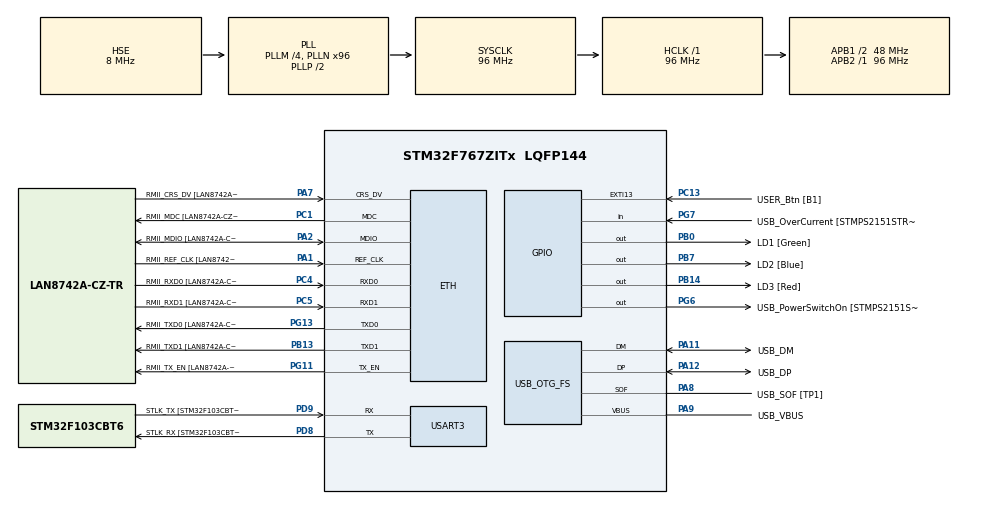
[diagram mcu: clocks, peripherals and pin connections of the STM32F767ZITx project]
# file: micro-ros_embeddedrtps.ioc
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ETH.MediaInterface=ETH_MEDIA_INTERFACE_RMII
ETH.PHY_Name=LAN8742A_PHY_ADDRESS
ETH.PHY_Value=0
ETH.PhyAddress=0
FREERTOS.Tasks01=defaultTask,19,8000,StartDefaultTask,Default,NULL,Dynamic,NULL,NULL
FREERTOS.configMAX_TASK_NAME_LEN=30
FREERTOS.configTOTAL_HEAP_SIZE=100000
FREERTOS.configUSE_NEWLIB_REENTRANT=1
LWIP.GATEWAY_ADDRESS=192.168.011.001
LWIP.IP_ADDRESS=192.168.011.002
LWIP.LWIP_DHCP=0
LWIP.LWIP_IGMP=1
LWIP.LWIP_MULTICAST_TX_OPTIONS=1
LWIP.MEMP_NUM_UDP_PCB=15
LWIP.MEM_SIZE=30000
LWIP.NETMASK_ADDRESS=255.255.255.000
LWIP.PBUF_POOL_SIZE=20
LWIP.TCPIP_THREAD_PRIO=20
LWIP.TCPIP_THREAD_STACKSIZE=10000
LWIP.Version=v2.1.2_Cube
Mcu.Family=STM32F7
Mcu.Name=STM32F767ZITx
Mcu.Package=LQFP144
NVIC.ETH_IRQn=true\:5\:0\:false\:false\:true\:true\:false\:true
NVIC.PriorityGroup=NVIC_PRIORITYGROUP_4
NVIC.TIM8_TRG_COM_TIM14_IRQn=true\:15\:0\:false\:false\:true\:false\:false\:true
NVIC.TimeBase=TIM8_TRG_COM_TIM14_IRQn
NVIC.TimeBaseIP=TIM14
PA1.GPIO_Label=RMII_REF_CLK [LAN8742A-CZ-TR_REFCLK0]
PA1.Mode=RMII
PA1.Signal=ETH_REF_CLK
PA10.GPIO_Label=USB_ID
PA10.Signal=USB_OTG_FS_ID
PA11.GPIO_Label=USB_DM
PA11.Mode=Device_Only
PA11.Signal=USB_OTG_FS_DM
PA12.GPIO_Label=USB_DP
PA12.Mode=Device_Only
PA12.Signal=USB_OTG_FS_DP
PA13.GPIO_Label=TMS
PA13.Mode=Serial_Wire
PA13.Signal=SYS_JTMS-SWDIO
PA14.GPIO_Label=TCK
PA14.Mode=Serial_Wire
PA14.Signal=SYS_JTCK-SWCLK
PA2.GPIO_Label=RMII_MDIO [LAN8742A-CZ-TR_MDIO]
PA2.Mode=RMII
PA2.Signal=ETH_MDIO
PA7.GPIO_Label=RMII_CRS_DV [LAN8742A-CZ-TR_CRS_DV]
PA7.Mode=RMII
PA7.Signal=ETH_CRS_DV
PA8.GPIO_Label=USB_SOF [TP1]
PA8.Mode=Activate_SOF_FS
PA8.Signal=USB_OTG_FS_SOF
PA9.GPIO_Label=USB_VBUS
PA9.Mode=Activate_VBUS
PA9.Signal=USB_OTG_FS_VBUS
PB0.GPIO_Label=LD1 [Green]
PB0.Signal=GPIO_Output
PB13.GPIO_Label=RMII_TXD1 [LAN8742A-CZ-TR_TXD1]
PB13.Mode=RMII
PB13.Signal=ETH_TXD1
PB14.GPIO_Label=LD3 [Red]
PB14.Signal=GPIO_Output
PB3.GPIO_Label=SWO
PB3.Signal=SYS_JTDO-SWO
PB7.GPIO_Label=LD2 [Blue]
PB7.Signal=GPIO_Output
PC1.GPIO_Label=RMII_MDC [LAN8742A-CZ-TR_MDC]
PC1.Mode=RMII
PC1.Signal=ETH_MDC
PC13.GPIO_Label=USER_Btn [B1]
PC13.Signal=GPXTI13
PC14/OSC32_IN.Mode=LSE-External-Oscillator
PC14/OSC32_IN.Signal=RCC_OSC32_IN
PC15/OSC32_OUT.Mode=LSE-External-Oscillator
PC15/OSC32_OUT.Signal=RCC_OSC32_OUT
PC4.GPIO_Label=RMII_RXD0 [LAN8742A-CZ-TR_RXD0]
PC4.Mode=RMII
PC4.Signal=ETH_RXD0
PC5.GPIO_Label=RMII_RXD1 [LAN8742A-CZ-TR_RXD1]
PC5.Mode=RMII
PC5.Signal=ETH_RXD1
PD8.GPIO_Label=STLK_RX [STM32F103CBT6_PA3]
PD8.Mode=Asynchronous
PD8.Signal=USART3_TX
PD9.GPIO_Label=STLK_TX [STM32F103CBT6_PA2]
PD9.Mode=Asynchronous
PD9.Signal=USART3_RX
PG11.GPIO_Label=RMII_TX_EN [LAN8742A-CZ-TR_TXEN]
PG11.Mode=RMII
PG11.Signal=ETH_TX_EN
PG13.GPIO_Label=RMII_TXD0 [LAN8742A-CZ-TR_TXD0]
PG13.Mode=RMII
PG13.Signal=ETH_TXD0
PG6.GPIO_Label=USB_PowerSwitchOn [STMPS2151STR_EN]
PG6.Signal=GPIO_Output
PG7.GPIO_Label=USB_OverCurrent [STMPS2151STR_FAULT]
PG7.Signal=GPIO_Input
PH0/OSC_IN.GPIO_Label=MCO [STM32F103CBT6_PA8]
PH0/OSC_IN.Mode=HSE-External-Clock-Source
PH0/OSC_IN.Signal=RCC_OSC_IN
PH1/OSC_OUT.Mode=HSE-External-Clock-Source
PH1/OSC_OUT.Signal=RCC_OSC_OUT
ProjectManager.HeapSize=0x200
ProjectManager.StackSize=0x400
ProjectManager.TargetToolchain=STM32CubeIDE
RCC.48MHZClocksFreq_Value=24000000
RCC.AHBFreq_Value=96000000
RCC.APB1CLKDivider=RCC_HCLK_DIV2
RCC.APB1Freq_Value=48000000
RCC.APB1TimFreq_Value=96000000
RCC.APB2Freq_Value=96000000
RCC.APB2TimFreq_Value=96000000
RCC.CortexFreq_Value=96000000
RCC.HCLKFreq_Value=96000000
RCC.HSE_VALUE=8000000
RCC.HSI_VALUE=16000000
RCC.PLLM=4
RCC.PLLMUL=RCC_PLL_MUL9
RCC.PLLN=96
RCC.PLLQ=4
RCC.PRESCALERUSB=RCC_USBCLKSOURCE_PLL_DIV1_5
RCC.SYSCLKFreq_VALUE=96000000
RCC.SYSCLKSource=RCC_SYSCLKSOURCE_PLLCLK
RCC.SYSCLKSourceVirtual=RCC_SYSCLKSOURCE_PLLCLK
RCC.USBFreq_Value=48000000
RCC.VCOOutputFreq_Value=192000000
USART3.VirtualMode-Asynchronous=VM_ASYNC
USB_OTG_FS.VirtualMode=Device_Only
VP_FREERTOS_VS_CMSIS_V2.Mode=CMSIS_V2
VP_LWIP_VS_Enabled.Mode=Enabled
VP_SYS_VS_tim14.Mode=TIM14
board=NUCLEO-F767ZI

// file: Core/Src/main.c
/* USER CODE BEGIN Header */
/**
  ******************************************************************************
  * @file           : main.c
  * @brief          : Main program body
  ******************************************************************************
  * @attention
  *
  * <h2><center>&copy; Copyright (c) 2022 STMicroelectronics.
  * All rights reserved.</center></h2>
  *
  * This software component is licensed by ST under BSD 3-Clause license,
  * the "License"; You may not use this file except in compliance with the
  * License. You may obtain a copy of the License at:
  *                        opensource.org/licenses/BSD-3-Clause
  *
  ******************************************************************************
  */
/* USER CODE END Header */
#include "main.h"
#include "cmsis_os.h"
#include "lwip.h"

/* USER CODE BEGIN Includes */
#include <rcl/rcl.h>
#include <rcl/error_handling.h>
#include <rclc/rclc.h>
#include <rclc/executor.h>

#include <std_msgs/msg/int32.h>
/* USER CODE END Includes */

UART_HandleTypeDef huart3;

PCD_HandleTypeDef hpcd_USB_OTG_FS;

/* Definitions for defaultTask */
osThreadId_t defaultTaskHandle;
const osThreadAttr_t defaultTask_attributes = {
  .name = "defaultTask",
  .stack_size = 8000 * 4,
  .priority = (osPriority_t) osPriorityBelowNormal3,
};

void SystemClock_Config(void);
static void MX_GPIO_Init(void);
static void MX_USART3_UART_Init(void);
static void MX_USB_OTG_FS_PCD_Init(void);
void StartDefaultTask(void *argument);

int main(void)
{

  /* MCU Configuration--------------------------------------------------------*/

  /* Reset of all peripherals, Initializes the Flash interface and the Systick. */
  HAL_Init();

  /* Configure the system clock */
  SystemClock_Config();

  /* Initialize all configured peripherals */
  MX_GPIO_Init();
  MX_USART3_UART_Init();
  MX_USB_OTG_FS_PCD_Init();

  /* Init scheduler */
  osKernelInitialize();

  /* Create the thread(s) */
  /* creation of defaultTask */
  defaultTaskHandle = osThreadNew(StartDefaultTask, NULL, &defaultTask_attributes);

  /* Start scheduler */
  osKernelStart();

  /* We should never get here as control is now taken by the scheduler */
  /* Infinite loop */
  while (1)
  {

  }
}

void SystemClock_Config(void)
{
  RCC_OscInitTypeDef RCC_OscInitStruct = {0};
  RCC_ClkInitTypeDef RCC_ClkInitStruct = {0};
  RCC_PeriphCLKInitTypeDef PeriphClkInitStruct = {0};

  /** Configure LSE Drive Capability
  */
  HAL_PWR_EnableBkUpAccess();
  /** Configure the main internal regulator output voltage
  */
  __HAL_RCC_PWR_CLK_ENABLE();
  __HAL_PWR_VOLTAGESCALING_CONFIG(PWR_REGULATOR_VOLTAGE_SCALE3);
  /** Initializes the RCC Oscillators according to the specified parameters
  * in the RCC_OscInitTypeDef structure.
  */
  RCC_OscInitStruct.OscillatorType = RCC_OSCILLATORTYPE_HSE;
  RCC_OscInitStruct.HSEState = RCC_HSE_BYPASS;
  RCC_OscInitStruct.PLL.PLLState = RCC_PLL_ON;
  RCC_OscInitStruct.PLL.PLLSource = RCC_PLLSOURCE_HSE;
  RCC_OscInitStruct.PLL.PLLM = 4;
  RCC_OscInitStruct.PLL.PLLN = 96;
  RCC_OscInitStruct.PLL.PLLP = RCC_PLLP_DIV2;
  RCC_OscInitStruct.PLL.PLLQ = 4;
  RCC_OscInitStruct.PLL.PLLR = 2;
  if (HAL_RCC_OscConfig(&RCC_OscInitStruct) != HAL_OK)
  {
    Error_Handler();
  }
  /** Activate the Over-Drive mode
  */
  if (HAL_PWREx_EnableOverDrive() != HAL_OK)
  {
    Error_Handler();
  }
  /** Initializes the CPU, AHB and APB buses clocks
  */
  RCC_ClkInitStruct.ClockType = RCC_CLOCKTYPE_HCLK|RCC_CLOCKTYPE_SYSCLK
                              |RCC_CLOCKTYPE_PCLK1|RCC_CLOCKTYPE_PCLK2;
  RCC_ClkInitStruct.SYSCLKSource = RCC_SYSCLKSOURCE_PLLCLK;
  RCC_ClkInitStruct.AHBCLKDivider = RCC_SYSCLK_DIV1;
  RCC_ClkInitStruct.APB1CLKDivider = RCC_HCLK_DIV2;
  RCC_ClkInitStruct.APB2CLKDivider = RCC_HCLK_DIV1;

  if (HAL_RCC_ClockConfig(&RCC_ClkInitStruct, FLASH_LATENCY_3) != HAL_OK)
  {
    Error_Handler();
  }
  PeriphClkInitStruct.PeriphClockSelection = RCC_PERIPHCLK_USART3|RCC_PERIPHCLK_CLK48;
  PeriphClkInitStruct.Usart3ClockSelection = RCC_USART3CLKSOURCE_PCLK1;
  PeriphClkInitStruct.Clk48ClockSelection = RCC_CLK48SOURCE_PLL;
  if (HAL_RCCEx_PeriphCLKConfig(&PeriphClkInitStruct) != HAL_OK)
  {
    Error_Handler();
  }
}

static void MX_USART3_UART_Init(void)
{

  huart3.Instance = USART3;
  huart3.Init.BaudRate = 115200;
  huart3.Init.WordLength = UART_WORDLENGTH_8B;
  huart3.Init.StopBits = UART_STOPBITS_1;
  huart3.Init.Parity = UART_PARITY_NONE;
  huart3.Init.Mode = UART_MODE_TX_RX;
  huart3.Init.HwFlowCtl = UART_HWCONTROL_NONE;
  huart3.Init.OverSampling = UART_OVERSAMPLING_16;
  huart3.Init.OneBitSampling = UART_ONE_BIT_SAMPLE_DISABLE;
  huart3.AdvancedInit.AdvFeatureInit = UART_ADVFEATURE_NO_INIT;
  if (HAL_UART_Init(&huart3) != HAL_OK)
  {
    Error_Handler();
  }

}

static void MX_USB_OTG_FS_PCD_Init(void)
{

  hpcd_USB_OTG_FS.Instance = USB_OTG_FS;
  hpcd_USB_OTG_FS.Init.dev_endpoints = 6;
  hpcd_USB_OTG_FS.Init.speed = PCD_SPEED_FULL;
  hpcd_USB_OTG_FS.Init.dma_enable = DISABLE;
  hpcd_USB_OTG_FS.Init.phy_itface = PCD_PHY_EMBEDDED;
  hpcd_USB_OTG_FS.Init.Sof_enable = ENABLE;
  hpcd_USB_OTG_FS.Init.low_power_enable = DISABLE;
  hpcd_USB_OTG_FS.Init.lpm_enable = DISABLE;
  hpcd_USB_OTG_FS.Init.vbus_sensing_enable = ENABLE;
  hpcd_USB_OTG_FS.Init.use_dedicated_ep1 = DISABLE;
  if (HAL_PCD_Init(&hpcd_USB_OTG_FS) != HAL_OK)
  {
    Error_Handler();
  }

}

static void MX_GPIO_Init(void)
{
  GPIO_InitTypeDef GPIO_InitStruct = {0};

  /* GPIO Ports Clock Enable */
  __HAL_RCC_GPIOC_CLK_ENABLE();
  __HAL_RCC_GPIOH_CLK_ENABLE();
  __HAL_RCC_GPIOA_CLK_ENABLE();
  __HAL_RCC_GPIOB_CLK_ENABLE();
  __HAL_RCC_GPIOD_CLK_ENABLE();
  __HAL_RCC_GPIOG_CLK_ENABLE();

  /*Configure GPIO pin Output Level */
  HAL_GPIO_WritePin(GPIOB, LD1_Pin|LD3_Pin|LD2_Pin, GPIO_PIN_RESET);

  /*Configure GPIO pin Output Level */
  HAL_GPIO_WritePin(USB_PowerSwitchOn_GPIO_Port, USB_PowerSwitchOn_Pin, GPIO_PIN_RESET);

  /*Configure GPIO pin : USER_Btn_Pin */
  GPIO_InitStruct.Pin = USER_Btn_Pin;
  GPIO_InitStruct.Mode = GPIO_MODE_IT_RISING;
  GPIO_InitStruct.Pull = GPIO_NOPULL;
  HAL_GPIO_Init(USER_Btn_GPIO_Port, &GPIO_InitStruct);

  /*Configure GPIO pins : LD1_Pin LD3_Pin LD2_Pin */
  GPIO_InitStruct.Pin = LD1_Pin|LD3_Pin|LD2_Pin;
  GPIO_InitStruct.Mode = GPIO_MODE_OUTPUT_PP;
  GPIO_InitStruct.Pull = GPIO_NOPULL;
  GPIO_InitStruct.Speed = GPIO_SPEED_FREQ_LOW;
  HAL_GPIO_Init(GPIOB, &GPIO_InitStruct);

  /*Configure GPIO pin : USB_PowerSwitchOn_Pin */
  GPIO_InitStruct.Pin = USB_PowerSwitchOn_Pin;
  GPIO_InitStruct.Mode = GPIO_MODE_OUTPUT_PP;
  GPIO_InitStruct.Pull = GPIO_NOPULL;
  GPIO_InitStruct.Speed = GPIO_SPEED_FREQ_LOW;
  HAL_GPIO_Init(USB_PowerSwitchOn_GPIO_Port, &GPIO_InitStruct);

  /*Configure GPIO pin : USB_OverCurrent_Pin */
  GPIO_InitStruct.Pin = USB_OverCurrent_Pin;
  GPIO_InitStruct.Mode = GPIO_MODE_INPUT;
  GPIO_InitStruct.Pull = GPIO_NOPULL;
  HAL_GPIO_Init(USB_OverCurrent_GPIO_Port, &GPIO_InitStruct);

}

/* USER CODE BEGIN 4 */
#ifdef __GNUC__
int __io_putchar(int ch)
#else
int fputc(int ch, FILE *f)
#endif /* __GNUC__ */
{
  HAL_UART_Transmit(&huart3, (uint8_t *)&ch, 1, 0xFFFF);
  return ch;
}
/* USER CODE END 4 */

/* USER CODE BEGIN Header_StartDefaultTask */
void * microros_allocate(size_t size, void * state);
void microros_deallocate(void * pointer, void * state);
void * microros_reallocate(void * pointer, size_t size, void * state);
void * microros_zero_allocate(size_t number_of_elements, size_t size_of_element, void * state);
/**
  * @brief  Function implementing the defaultTask thread.
  * @param  argument: Not used
  * @retval None
  */
/* USER CODE END Header_StartDefaultTask */
void StartDefaultTask(void *argument)
{
  /* init code for LWIP */
  MX_LWIP_Init();
  /* USER CODE BEGIN 5 */
  rcl_allocator_t freeRTOS_allocator = rcutils_get_zero_initialized_allocator();
  freeRTOS_allocator.allocate = microros_allocate;
  freeRTOS_allocator.deallocate = microros_deallocate;
  freeRTOS_allocator.reallocate = microros_reallocate;
  freeRTOS_allocator.zero_allocate =  microros_zero_allocate;

  if (!rcutils_set_default_allocator(&freeRTOS_allocator)) {
	 printf("Error on default allocators (line %d)\n", __LINE__);
  }

  // micro-ROS app

  rcl_publisher_t publisher;
  std_msgs__msg__Int32 msg;
  rclc_support_t support;
  rcl_allocator_t allocator;
  rcl_node_t node;

  allocator = rcl_get_default_allocator();

  //create init_options
  rclc_support_init(&support, 0, NULL, &allocator);

  // create node
  rclc_node_init_default(&node, "cubemx_node", "", &support);

  // create publisher
  rclc_publisher_init_default(
    &publisher,
    &node,
    ROSIDL_GET_MSG_TYPE_SUPPORT(std_msgs, msg, Int32),
    "cubemx_publisher");

  msg.data = 0;

  // TO print this enable FreeRTOS -> USE_STATS_FORMATTING_FUNCTIONS

  // static char ptrTaskList[1000];

  // vTaskList(ptrTaskList);
  // printf("**********************************");
  // printf("Task  State   Prio    Stack    Num");
  // printf("**********************************");
  // printf(ptrTaskList);
  // printf("**********************************");

  for(;;) {
    (void)! rcl_publish(&publisher, &msg, NULL);
    msg.data++;
    osDelay(portTICK_RATE_MS*1000);
  }
  /* USER CODE END 5 */
}

void HAL_TIM_PeriodElapsedCallback(TIM_HandleTypeDef *htim)
{
  if (htim->Instance == TIM14) {
    HAL_IncTick();
  }
}

void Error_Handler(void)
{
  __disable_irq();
  while (1)
  {
  }
}

/************************ (C) COPYRIGHT STMicroelectronics *****END OF FILE****/
